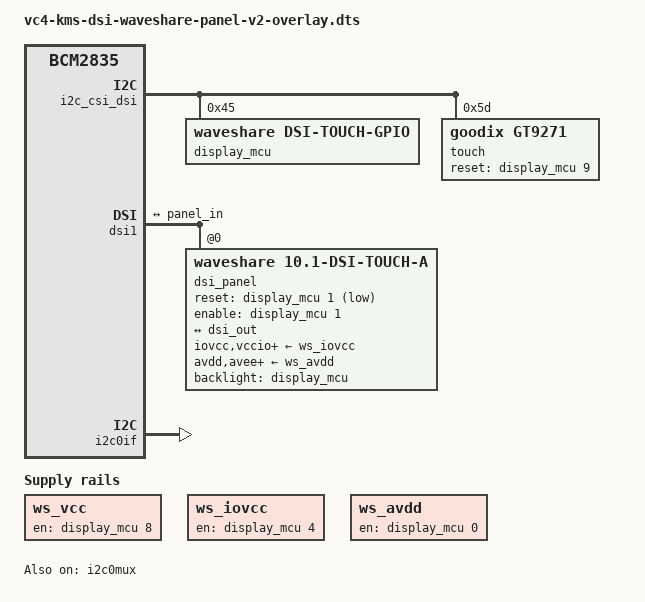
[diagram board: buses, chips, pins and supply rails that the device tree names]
/*
 * vc4-kms-dsi-waveshare-panel-v2-overlay.dts
 */

/dts-v1/;
/plugin/;

#include <dt-bindings/gpio/gpio.h>

/ {
	compatible = "brcm,bcm2835";

	i2c_frag: fragment@0 {
		target = <&i2c_csi_dsi>;
		__overlay__ {
			#address-cells = <1>;
			#size-cells = <0>;
			status = "okay";

			display_mcu: display_mcu@45 {
				compatible = "waveshare,dsi-touch-gpio";
				reg = <0x45>;
				gpio-controller;
				#gpio-cells = <2>;
			};

			touch: touch@5d {
				compatible = "goodix,gt9271";
				reg = <0x5d>;
				reset-gpio = <&display_mcu 9 GPIO_ACTIVE_HIGH>;
			};
		};
	};

	dsi_frag: fragment@1 {
		target = <&dsi1>;
		__overlay__  {
			#address-cells = <1>;
			#size-cells = <0>;
			status = "okay";

			port {
				dsi_out: endpoint {
					remote-endpoint = <&panel_in>;
					data-lanes = <1 2>;
				};
			};

			/*
			 * The supplies and GPIOs cover the names used by all the
			 * panel drivers: each driver only looks up its own.
			 */
			dsi_panel: dsi_panel@0 {
				reg = <0>;
				compatible = "waveshare,10.1-dsi-touch-a";
				reset-gpios = <&display_mcu 1 GPIO_ACTIVE_LOW>;
				enable-gpios = <&display_mcu 1 GPIO_ACTIVE_HIGH>;
				iovcc-supply = <&ws_iovcc>;
				vccio-supply = <&ws_iovcc>;
				pp1800-supply = <&ws_iovcc>;
				avdd-supply = <&ws_avdd>;
				avee-supply = <&ws_avdd>;
				vdd-supply = <&ws_avdd>;
				vcc-supply = <&ws_avdd>;
				power-supply = <&ws_avdd>;
				backlight = <&display_mcu>;

				port {
					panel_in: endpoint {
						remote-endpoint = <&dsi_out>;
					};
				};
			};
		};
	};

	fragment@2 {
		target = <&i2c0if>;
		__overlay__ {
			status = "okay";
		};
	};

	fragment@3 {
		target = <&i2c0mux>;
		__overlay__ {
			status = "okay";
		};
	};

	fragment@4 {
		target-path = "/";
		__overlay__ {
			ws_vcc: ws_panel_vcc@1 {
				reg = <1>;
				compatible = "regulator-fixed";
				regulator-name = "ws_panel_vcc_1";
				gpio = <&display_mcu 8 GPIO_ACTIVE_HIGH>;
				enable-active-high;
				regulator-always-on;
			};

			ws_iovcc: ws_panel_iovcc@1 {
				reg = <1>;
				compatible = "regulator-fixed";
				regulator-name = "ws_panel_iovcc_1";
				gpio = <&display_mcu 4 GPIO_ACTIVE_HIGH>;
				startup-delay-us = <20000>;
				enable-active-high;
			};

			ws_avdd: ws_panel_avdd@1 {
				reg = <1>;
				compatible = "regulator-fixed";
				regulator-name = "ws_panel_avdd_1";
				gpio = <&display_mcu 0 GPIO_ACTIVE_HIGH>;
				startup-delay-us = <20000>;
				enable-active-high;
			};
		};
	};

	fragment@5 {
		target = <&dsi_out>;
		__dormant__ {
			data-lanes = <1 2 3 4>;
		};
	};

	__overrides__ {
		3_4_inch_c = <&dsi_panel>, "compatible=waveshare,3.4-dsi-touch-c";
		4_0_inch_a = <&dsi_panel>, "compatible=waveshare,4.0-dsi-touch-a";
		4_0_inch_c = <&dsi_panel>, "compatible=waveshare,4.0-dsi-touch-c";
		4_3_inch_a = <&dsi_panel>, "compatible=waveshare,4.3-dsi-touch-a";
		5_0_inch_a = <&dsi_panel>, "compatible=waveshare,5.0-dsi-touch-a";
		5_0_inch_a_v2 = <&dsi_panel>, "compatible=waveshare,5.0-dsi-touch-a-v2";
		5_0_inch_b = <&dsi_panel>, "compatible=waveshare,5.0-dsi-touch-b";
		5_5_inch_a = <&dsi_panel>, "compatible=waveshare,5.5-dsi-touch-a";
		6_25_inch_a = <&dsi_panel>, "compatible=waveshare,6.25-dsi-touch-a",
			      <&touch>, "compatible=sitronix,st7123",
			      <&touch>, "reg:0=0x55";
		7_0_inch_a = <&dsi_panel>, "compatible=waveshare,7.0-dsi-touch-a";
		7_0_inch_b = <&dsi_panel>, "compatible=waveshare,7.0-dsi-touch-b";
		7_0_inch_c = <&dsi_panel>, "compatible=waveshare,7.0-dsi-touch-c";
		8_0_inch_a = <&dsi_panel>, "compatible=waveshare,8.0-dsi-touch-a";
		8_0_inch_a_4lane = <&dsi_panel>, "compatible=waveshare,8.0-dsi-touch-a",
				   <0>, "+5";
		8_8_inch_a = <&dsi_panel>, "compatible=waveshare,8.8-dsi-touch-a",
			     <&dsi_panel>, "vcc-supply:0=", <&ws_iovcc>,
			     <&dsi_panel>, "vdd-supply:0=", <&ws_vcc>;
		9_0_inch_b = <&dsi_panel>, "compatible=waveshare,9.0-dsi-touch-b",
			     <&touch>, "touchscreen-inverted-x";
		9_0_inch_b_4lane = <&dsi_panel>, "compatible=waveshare,9.0-dsi-touch-b",
				   <&touch>, "touchscreen-inverted-x",
				   <0>, "+5";
		10_1_inch_a = <&dsi_panel>, "compatible=waveshare,10.1-dsi-touch-a";
		10_1_inch_a_4lane = <&dsi_panel>, "compatible=waveshare,10.1-dsi-touch-a",
				    <0>, "+5";
		10_1_inch_b = <&dsi_panel>, "compatible=waveshare,10.1-dsi-touch-b",
			      <&touch>, "touchscreen-inverted-y";
		10_1_inch_b_4lane = <&dsi_panel>, "compatible=waveshare,10.1-dsi-touch-b",
				    <&touch>, "touchscreen-inverted-y",
				    <0>, "+5";
		10_1_inch_e_4lane = <&dsi_panel>, "compatible=waveshare,10.1-dsi-touch-e-4lane";
		12_3_inch_a_4lane = <&dsi_panel>, "compatible=waveshare,12.3-dsi-touch-a",
				    <&touch>, "touchscreen-swapped-x-y",
				    <&touch>, "touchscreen-inverted-y",
				    <0>, "+5";
		disable_touch = <&touch>, "status=disabled";
		invx = <&touch>,"touchscreen-inverted-x?";
		invy = <&touch>,"touchscreen-inverted-y?";
		swapxy = <&touch>,"touchscreen-swapped-x-y?";
		dsi0 = <&dsi_frag>, "target:0=",<&dsi0>,
		       <&i2c_frag>, "target:0=",<&i2c_csi_dsi0>,
		       <&ws_vcc>, "reg:0=0",
		       <&ws_vcc>, "regulator-name=ws_panel_vcc_0",
		       <&ws_iovcc>, "reg:0=0",
		       <&ws_iovcc>, "regulator-name=ws_panel_iovcc_0",
		       <&ws_avdd>, "reg:0=0",
		       <&ws_avdd>, "regulator-name=ws_panel_avdd_0";
	};
};
